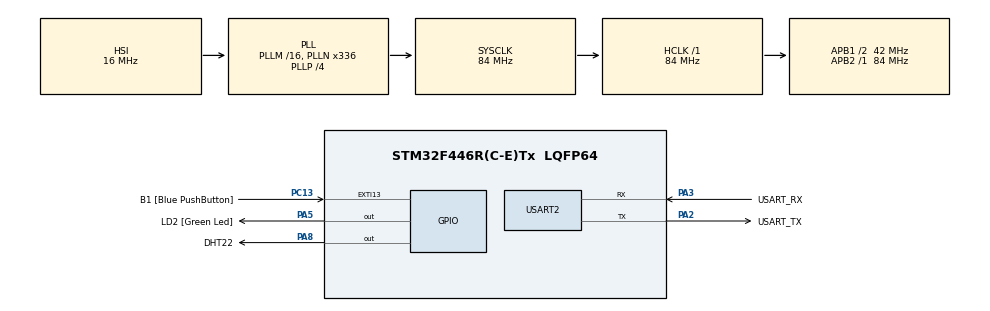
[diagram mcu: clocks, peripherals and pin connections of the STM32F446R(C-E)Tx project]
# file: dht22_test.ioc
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Mcu.Family=STM32F4
Mcu.Name=STM32F446R(C-E)Tx
Mcu.Package=LQFP64
NVIC.PriorityGroup=NVIC_PRIORITYGROUP_0
PA13.GPIO_Label=TMS
PA13.Mode=Serial_Wire
PA13.Signal=SYS_JTMS-SWDIO
PA14.GPIO_Label=TCK
PA14.Mode=Serial_Wire
PA14.Signal=SYS_JTCK-SWCLK
PA2.GPIO_Label=USART_TX
PA2.Mode=Asynchronous
PA2.Signal=USART2_TX
PA3.GPIO_Label=USART_RX
PA3.Mode=Asynchronous
PA3.Signal=USART2_RX
PA5.GPIO_Label=LD2 [Green Led]
PA5.Signal=GPIO_Output
PA8.GPIO_Label=DHT22
PA8.GPIO_ModeDefaultOutputPP=GPIO_MODE_OUTPUT_OD
PA8.GPIO_PuPd=GPIO_NOPULL
PA8.Signal=GPIO_Output
PB3.GPIO_Label=SWO
PB3.Signal=SYS_JTDO-SWO
PC13.GPIO_Label=B1 [Blue PushButton]
PC13.GPIO_ModeDefaultEXTI=GPIO_MODE_IT_FALLING
PC13.Signal=GPXTI13
PC14-OSC32_IN.Mode=LSE-External-Oscillator
PC14-OSC32_IN.Signal=RCC_OSC32_IN
PC15-OSC32_OUT.Mode=LSE-External-Oscillator
PC15-OSC32_OUT.Signal=RCC_OSC32_OUT
PH0-OSC_IN.Mode=HSE-External-Oscillator
PH0-OSC_IN.Signal=RCC_OSC_IN
PH1-OSC_OUT.Mode=HSE-External-Oscillator
PH1-OSC_OUT.Signal=RCC_OSC_OUT
ProjectManager.HeapSize=0x200
ProjectManager.StackSize=0x400
ProjectManager.TargetToolchain=STM32CubeIDE
RCC.48MHZClocksFreq_Value=84000000
RCC.AHBFreq_Value=84000000
RCC.APB1CLKDivider=RCC_HCLK_DIV2
RCC.APB1Freq_Value=42000000
RCC.APB1TimFreq_Value=84000000
RCC.APB2Freq_Value=84000000
RCC.APB2TimFreq_Value=84000000
RCC.CortexFreq_Value=84000000
RCC.FLatency-AdvancedSettings=FLASH_LATENCY_2
RCC.HCLKFreq_Value=84000000
RCC.HSE_VALUE=8000000
RCC.HSI_VALUE=16000000
RCC.PLLN=336
RCC.PLLP=RCC_PLLP_DIV4
RCC.SYSCLKFreq_VALUE=84000000
RCC.SYSCLKSource=RCC_SYSCLKSOURCE_PLLCLK
RCC.USBFreq_Value=168000000
RCC.VCOOutputFreq_Value=336000000
TIM2.Prescaler=83
USART2.VirtualMode=VM_ASYNC
VP_TIM2_VS_ClockSourceINT.Mode=Internal
board=NUCLEO-F446RE

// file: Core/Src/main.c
/* USER CODE BEGIN Header */
/**
  ******************************************************************************
  * @file           : main.c
  * @brief          : Main program body
  ******************************************************************************
  * @attention
  *
  * Copyright (c) 2026 STMicroelectronics.
  * All rights reserved.
  *
  * This software is licensed under terms that can be found in the LICENSE file
  * in the root directory of this software component.
  * If no LICENSE file comes with this software, it is provided AS-IS.
  *
  ******************************************************************************
  */
/* USER CODE END Header */
#include "main.h"

/* USER CODE BEGIN Includes */
#include "dht22.h"
#include <stdio.h>
#include <string.h>
/* USER CODE END Includes */

TIM_HandleTypeDef htim2;

UART_HandleTypeDef huart2;

/* USER CODE BEGIN PV */
static DHT22_Data_t sensor_data;
static DHT22_Status_t sensor_status;
/* USER CODE END PV */

void SystemClock_Config(void);
static void MX_GPIO_Init(void);
static void MX_USART2_UART_Init(void);
static void MX_TIM2_Init(void);
/* USER CODE BEGIN PFP */
static void print_uart(const char *message);
/* USER CODE END PFP */

int main(void)
{

  /* USER CODE BEGIN 1 */
	char message[100];
  /* USER CODE END 1 */

  /* MCU Configuration--------------------------------------------------------*/

  /* Reset of all peripherals, Initializes the Flash interface and the Systick. */
  HAL_Init();

  /* USER CODE BEGIN Init */
;
  /* USER CODE END Init */

  /* Configure the system clock */
  SystemClock_Config();

  /* Initialize all configured peripherals */
  MX_GPIO_Init();
  MX_USART2_UART_Init();
  MX_TIM2_Init();
  /* USER CODE BEGIN 2 */
  if (DHT22_Init(&htim2) != DHT22_OK)
      {
          print_uart("DHT22 timer initialization failed!\r\n");
          Error_Handler();
      }
  print_uart("DHT22 sensor test started\r\n");
  /* USER CODE END 2 */

  /* Infinite loop */
  while (1)
  {
    /* USER CODE BEGIN 3 */
      sensor_status = DHT22_Read(GPIOA, DHT22_Pin,
                                 &sensor_data);

      if (sensor_status == DHT22_OK)
      {
          (void)snprintf(message, sizeof(message),
                         "Temperature: %.1f C, Humidity: %.1f %%\r\n",
                         (double)sensor_data.temperature,
                         (double)sensor_data.humidity);

          print_uart(message);
      }
      else if (sensor_status == DHT22_ERROR_TIMEOUT)
      {
          print_uart("DHT22 timeout: check wiring\r\n");
      }
      else if (sensor_status == DHT22_ERROR_CHECKSUM)
      {
          print_uart("DHT22 checksum error\r\n");
      }
      else
      {
          print_uart("DHT22 driver error\r\n");
      }

      /* Avoid polling too rapidly after errors. */
      HAL_Delay(2000);
  }
  /* USER CODE END 3 */
}

void SystemClock_Config(void)
{
  RCC_OscInitTypeDef RCC_OscInitStruct = {0};
  RCC_ClkInitTypeDef RCC_ClkInitStruct = {0};

  /** Configure the main internal regulator output voltage
  */
  __HAL_RCC_PWR_CLK_ENABLE();
  __HAL_PWR_VOLTAGESCALING_CONFIG(PWR_REGULATOR_VOLTAGE_SCALE3);

  /** Initializes the RCC Oscillators according to the specified parameters
  * in the RCC_OscInitTypeDef structure.
  */
  RCC_OscInitStruct.OscillatorType = RCC_OSCILLATORTYPE_HSI;
  RCC_OscInitStruct.HSIState = RCC_HSI_ON;
  RCC_OscInitStruct.HSICalibrationValue = RCC_HSICALIBRATION_DEFAULT;
  RCC_OscInitStruct.PLL.PLLState = RCC_PLL_ON;
  RCC_OscInitStruct.PLL.PLLSource = RCC_PLLSOURCE_HSI;
  RCC_OscInitStruct.PLL.PLLM = 16;
  RCC_OscInitStruct.PLL.PLLN = 336;
  RCC_OscInitStruct.PLL.PLLP = RCC_PLLP_DIV4;
  RCC_OscInitStruct.PLL.PLLQ = 2;
  RCC_OscInitStruct.PLL.PLLR = 2;
  if (HAL_RCC_OscConfig(&RCC_OscInitStruct) != HAL_OK)
  {
    Error_Handler();
  }

  /** Initializes the CPU, AHB and APB buses clocks
  */
  RCC_ClkInitStruct.ClockType = RCC_CLOCKTYPE_HCLK|RCC_CLOCKTYPE_SYSCLK
                              |RCC_CLOCKTYPE_PCLK1|RCC_CLOCKTYPE_PCLK2;
  RCC_ClkInitStruct.SYSCLKSource = RCC_SYSCLKSOURCE_PLLCLK;
  RCC_ClkInitStruct.AHBCLKDivider = RCC_SYSCLK_DIV1;
  RCC_ClkInitStruct.APB1CLKDivider = RCC_HCLK_DIV2;
  RCC_ClkInitStruct.APB2CLKDivider = RCC_HCLK_DIV1;

  if (HAL_RCC_ClockConfig(&RCC_ClkInitStruct, FLASH_LATENCY_2) != HAL_OK)
  {
    Error_Handler();
  }
}

static void MX_TIM2_Init(void)
{

  TIM_ClockConfigTypeDef sClockSourceConfig = {0};
  TIM_MasterConfigTypeDef sMasterConfig = {0};

  htim2.Instance = TIM2;
  htim2.Init.Prescaler = 83;
  htim2.Init.CounterMode = TIM_COUNTERMODE_UP;
  htim2.Init.Period = 4294967295;
  htim2.Init.ClockDivision = TIM_CLOCKDIVISION_DIV1;
  htim2.Init.AutoReloadPreload = TIM_AUTORELOAD_PRELOAD_DISABLE;
  if (HAL_TIM_Base_Init(&htim2) != HAL_OK)
  {
    Error_Handler();
  }
  sClockSourceConfig.ClockSource = TIM_CLOCKSOURCE_INTERNAL;
  if (HAL_TIM_ConfigClockSource(&htim2, &sClockSourceConfig) != HAL_OK)
  {
    Error_Handler();
  }
  sMasterConfig.MasterOutputTrigger = TIM_TRGO_RESET;
  sMasterConfig.MasterSlaveMode = TIM_MASTERSLAVEMODE_DISABLE;
  if (HAL_TIMEx_MasterConfigSynchronization(&htim2, &sMasterConfig) != HAL_OK)
  {
    Error_Handler();
  }

}

static void MX_USART2_UART_Init(void)
{

  huart2.Instance = USART2;
  huart2.Init.BaudRate = 115200;
  huart2.Init.WordLength = UART_WORDLENGTH_8B;
  huart2.Init.StopBits = UART_STOPBITS_1;
  huart2.Init.Parity = UART_PARITY_NONE;
  huart2.Init.Mode = UART_MODE_TX_RX;
  huart2.Init.HwFlowCtl = UART_HWCONTROL_NONE;
  huart2.Init.OverSampling = UART_OVERSAMPLING_16;
  if (HAL_UART_Init(&huart2) != HAL_OK)
  {
    Error_Handler();
  }

}

static void MX_GPIO_Init(void)
{
  GPIO_InitTypeDef GPIO_InitStruct = {0};

  /* GPIO Ports Clock Enable */
  __HAL_RCC_GPIOC_CLK_ENABLE();
  __HAL_RCC_GPIOH_CLK_ENABLE();
  __HAL_RCC_GPIOA_CLK_ENABLE();
  __HAL_RCC_GPIOB_CLK_ENABLE();

  /*Configure GPIO pin Output Level */
  HAL_GPIO_WritePin(GPIOA, LD2_Pin|DHT22_Pin, GPIO_PIN_RESET);

  /*Configure GPIO pin : B1_Pin */
  GPIO_InitStruct.Pin = B1_Pin;
  GPIO_InitStruct.Mode = GPIO_MODE_IT_FALLING;
  GPIO_InitStruct.Pull = GPIO_NOPULL;
  HAL_GPIO_Init(B1_GPIO_Port, &GPIO_InitStruct);

  /*Configure GPIO pin : LD2_Pin */
  GPIO_InitStruct.Pin = LD2_Pin;
  GPIO_InitStruct.Mode = GPIO_MODE_OUTPUT_PP;
  GPIO_InitStruct.Pull = GPIO_NOPULL;
  GPIO_InitStruct.Speed = GPIO_SPEED_FREQ_LOW;
  HAL_GPIO_Init(LD2_GPIO_Port, &GPIO_InitStruct);

  /*Configure GPIO pin : DHT22_Pin */
  GPIO_InitStruct.Pin = DHT22_Pin;
  GPIO_InitStruct.Mode = GPIO_MODE_OUTPUT_OD;
  GPIO_InitStruct.Pull = GPIO_NOPULL;
  GPIO_InitStruct.Speed = GPIO_SPEED_FREQ_LOW;
  HAL_GPIO_Init(DHT22_GPIO_Port, &GPIO_InitStruct);

}

/* USER CODE BEGIN 4 */
static void print_uart(const char *message)
{
    HAL_UART_Transmit(&huart2,
                      (uint8_t *)message,
                      (uint16_t)strlen(message),
                      1000U);
}
/* USER CODE END 4 */

void Error_Handler(void)
{
  __disable_irq();
  while (1)
  {
  }
}
